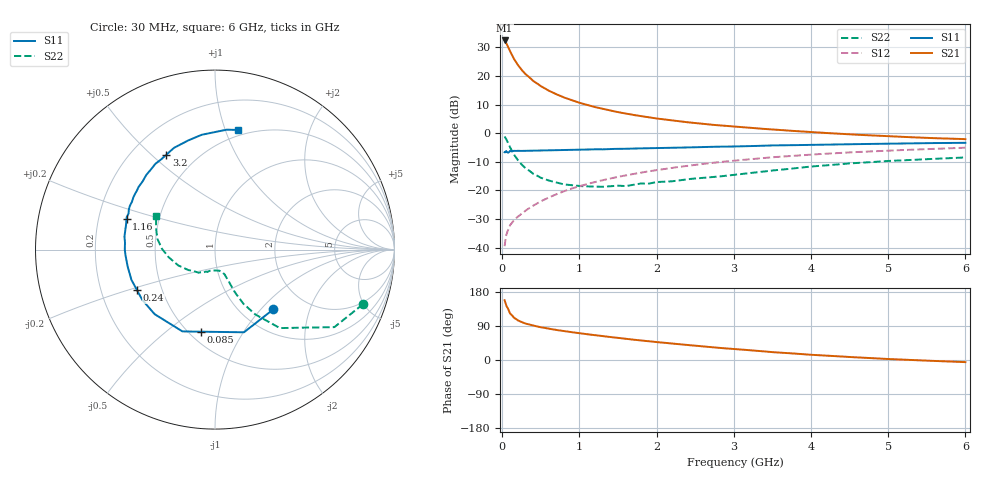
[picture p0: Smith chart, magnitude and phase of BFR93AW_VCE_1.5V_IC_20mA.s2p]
! Infineon Technologies  Discrete & RF Semiconductors
! BFR93AW
! VCE =  1.5 V,  IC =  20 mA
! Common Emitter S-Parameters:  Nov 2015
# GHz  S  MA  R  50
!  f  S11  S21  S12  S22
! GHz  MAG  ANG  MAG  ANG  MAG  ANG  MAG  ANG
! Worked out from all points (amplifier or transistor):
!   206 points, 30 MHz to 6 GHz, reference 50 ohm
!   highest |S21| = 32.4 dB at 30 MHz (marker M1)
!   |S21| within 3 dB of that: start of sweep to 86.63 MHz
!   unconditionally stable (mu >= 1): 499 MHz to 2.493 GHz
!   at 200 MHz: K = 0.72, MSG = 26.6 dB, |S12| = -29.2 dB
!   at 1.56 GHz: K = 1.05, MAG = 9.6 dB, |S12| = -14.9 dB
!   at 6 GHz: K = 0.95, MSG = 1.5 dB, |S12| = -5.1 dB
!   S11 on the Smith chart (normalised r, x): 30 MHz: 1.38, -1.18; 85 MHz: 0.57, -0.67; 240 MHz: 0.36, -0.21; 1.16 GHz: 0.32, +0.15; 3.2 GHz: 0.34, +0.56; 6 GHz: 0.45, +1.11
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0.03  0.4652 -45.7  41.8 157.7  0.0106 71.9  0.8785 -20.3
0.05  0.4881 -70.7  37.98 143.6  0.0163 66.9  0.7929 -33.0
0.085  0.464 -99.7  29.92 130.6  0.022 60.1  0.6283 -43.9
0.1  0.4906 -111.7  27.13 122.9  0.0246 58.2  0.5675 -50.4
0.15  0.4925 -133.1  20 111.7  0.0301 56.8  0.4245 -58.2
0.2  0.4926 -145.4  15.7 104.8  0.0346 57.0  0.3408 -62.3
0.24  0.49 -152.5  13.37 101.0  0.0381 58.6  0.294 -63.8
0.3  0.4951 -160.1  10.82 96.2  0.0442 60.6  0.2462 -65.5
0.4  0.4957 -169.0  8.21 90.7  0.0541 64.3  0.1958 -66.4
0.5  0.4991 -175.4  6.632 86.3  0.0644 65.8  0.1664 -67.9
0.6  0.5026 -179.9  5.558 82.7  0.0748 67.3  0.1492 -68.7
0.7  0.503 175.5  4.798 79.3  0.0855 67.9  0.1377 -70.8
0.8  0.5095 171.8  4.209 76.2  0.0968 68.3  0.1272 -74.7
1.04  0.5147 164.3  3.286 69.6  0.1228 67.7  0.1185 -81.2
1.16  0.5213 161.0  2.963 66.5  0.1356 67.4  0.1172 -86.1
1.5  0.5333 152.8  2.333 58.3  0.1727 65.5  0.121 -98.2
2.02  0.5506 140.4  1.794 46.9  0.2284 61.2  0.1404 -116.0
3.1  0.5897 118.9  1.273 27.4  0.3402 50.3  0.1932 -145.7
3.2  0.5942 117.1  1.243 25.9  0.3499 49.1  0.1999 -148.7
4.1  0.629 102.3  1.027 12.7  0.4307 39.1  0.2677 -172.9
5.1  0.6578 88.9  0.875 1.8  0.5024 28.2  0.3314 167.0
6  0.679 78.9  0.788 -5.6  0.5578 19.0  0.3771 150.1
